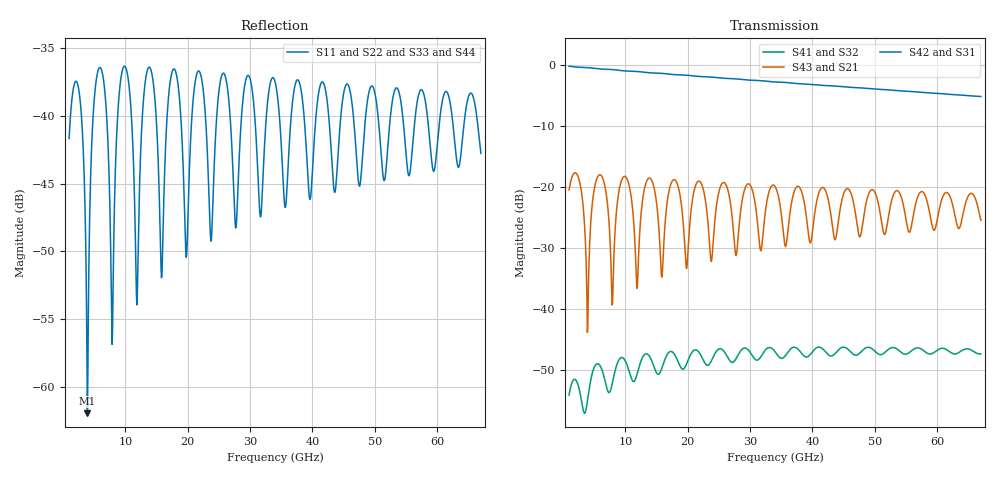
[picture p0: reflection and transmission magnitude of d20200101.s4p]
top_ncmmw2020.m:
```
%% Basic information
% Extract RLGC of coupled TL from S using Mixed-Mode ABCD method
% Author Name: Wei Guorui
% Instructor Name: Xia Bin
% Created in: 2020-01-01 11:16
% Last modified: 2020-01-01 hh:mm
clc; clear; close all;
addpath(genpath('../code'))

%% Port numbering
% Single-Ended
% 	           PORT NUMBERING (Classic style)
% 	    PORT#                               PORT#
% 	    Z1 = Z3 = 50.00                     Z2 = Z4 = 50.00
% 	           --------------------------
% 	          |                          |
% 	      1 --|                          |-- 2
% 	          |                          |
% 	      3 --|                          |-- 4
% 	          |                          |
% 	           --------------------------

% Mixed Mode S-Parameters
% 	    Zdiff = 100.00                      Zcomm = 25.00
% 	    PORT#								PORT#
% 	           --------------------------
% 	          |                          |
% 	        --|                          |--
% 	     1    |                          |     2
% 	        --|                          |--
% 	          |                          |
% 	           --------------------------

%% Initialize
% Load Scattering matrix
linelength = 0.018; % line length(meters).
filename_2line = 'data/SI/d20200101.s4p';
SE4P_Data = read(rfdata.data,filename_2line); % SingleEnded4PortData
freq = SE4P_Data.Freq;
freqpts = length(freq);
Z0 = SE4P_Data.Z0; % Reference impedance
ZL = SE4P_Data.ZL;
ZS = SE4P_Data.ZS;
SE4P_Data.S_Parameters = snp2smp(SE4P_Data.S_Parameters,...
    Z0,[1 2 3 4]); % Single-Ended Scattering parameters
numLines = size(SE4P_Data.S_Parameters,1)/2; % (nunLines + 1) Conductors
s_params = sparameters(SE4P_Data);

%% Extract RLCG using Mixed-Mode ABCD method
% 1. Convert Single-Ended S to Mixed-Mode S
[smm.dd,smm.dc,smm.cd,smm.cc] = ...
    s2smm(snp2smp(s_params.Parameters,Z0,[1 2 3 4],Z0),2);

% 2. Extract \gamma and Zc for each mode
% 3. Combined odd/even mode to get total RLCG
[rlgc_params] = mms2rlgc(smm,linelength,freq,Z0);

%% Validate
% Load RLCG extracted by Cadence Sigrity PowerSI
% allocate memory
rlgc_PowerSI.R = zeros(size(rlgc_params.R));
rlgc_PowerSI.L = zeros(size(rlgc_params.L));
rlgc_PowerSI.C = zeros(size(rlgc_params.C));
rlgc_PowerSI.G = zeros(size(rlgc_params.G));
% load data
filename_PowerSI = 'data/SI/Transmission_RLGC_res_20200101.csv';
opts = detectImportOptions(filename_PowerSI);
rlgc_PowerSI_mat = readtable(filename_PowerSI);
for freqIdx = 1:freqpts
    rlgc_PowerSI.R(1,1,freqIdx) = rlgc_PowerSI_mat{4*freqIdx-3,3}/linelength;
    rlgc_PowerSI.R(1,2,freqIdx) = rlgc_PowerSI_mat{4*freqIdx-3,4}/linelength;
    rlgc_PowerSI.R(2,1,freqIdx) = rlgc_PowerSI_mat{4*freqIdx-3,4}/linelength;
    rlgc_PowerSI.R(2,2,freqIdx) = rlgc_PowerSI_mat{4*freqIdx-3,5}/linelength;
    rlgc_PowerSI.L(1,1,freqIdx) = rlgc_PowerSI_mat{4*freqIdx-2,3}/linelength;
    rlgc_PowerSI.L(1,2,freqIdx) = rlgc_PowerSI_mat{4*freqIdx-2,4}/linelength;
    rlgc_PowerSI.L(2,1,freqIdx) = rlgc_PowerSI_mat{4*freqIdx-2,4}/linelength;
    rlgc_PowerSI.L(2,2,freqIdx) = rlgc_PowerSI_mat{4*freqIdx-2,5}/linelength;    
    rlgc_PowerSI.G(1,1,freqIdx) = rlgc_PowerSI_mat{4*freqIdx-1,3}/linelength;
    rlgc_PowerSI.G(1,2,freqIdx) = rlgc_PowerSI_mat{4*freqIdx-1,4}/linelength;
    rlgc_PowerSI.G(2,1,freqIdx) = rlgc_PowerSI_mat{4*freqIdx-1,4}/linelength;
    rlgc_PowerSI.G(2,2,freqIdx) = rlgc_PowerSI_mat{4*freqIdx-1,5}/linelength;
    rlgc_PowerSI.C(1,1,freqIdx) = rlgc_PowerSI_mat{4*freqIdx-0,3}/linelength;
    rlgc_PowerSI.C(1,2,freqIdx) = rlgc_PowerSI_mat{4*freqIdx-0,4}/linelength;
    rlgc_PowerSI.C(2,1,freqIdx) = rlgc_PowerSI_mat{4*freqIdx-0,4}/linelength;
    rlgc_PowerSI.C(2,2,freqIdx) = rlgc_PowerSI_mat{4*freqIdx-0,5}/linelength;
end

%% Figure
%% 1. Simulated S parameters
figure('Name','Simulated [S] Matrix')
sgtitle('Simulated S parameters using Polar Si9000')
subplot(2,2,1)
rfplot(s_params,1,1);
hold on
rfplot(s_params,2,2);
rfplot(s_params,3,3);
rfplot(s_params,4,4);
hold off
legend({'S11','S22','S33','S44'},'Location','best','NumColumns',2)
legend('boxoff')
title('S11,S22,S33,S44')

subplot(2,2,2)
rfplot(s_params,1,2);
hold on
rfplot(s_params,2,1);
rfplot(s_params,3,4);
rfplot(s_params,4,3);
hold off
legend({'S12','S21','S34','S43'},'Location','best','NumColumns',2)
legend('boxoff')
title('S12,S21,S34,S43')

subplot(2,2,3)
rfplot(s_params,1,3);
hold on
rfplot(s_params,3,1);
rfplot(s_params,2,4);
rfplot(s_params,4,2);
hold off
legend({'S13','S31','S24','S42'},'Location','best','NumColumns',2)
legend('boxoff')
title('S13,S31,S24,S42')

subplot(2,2,4)
rfplot(s_params,1,4);
hold on
rfplot(s_params,4,1);
rfplot(s_params,2,3);
rfplot(s_params,3,2);
hold off
legend({'S14','S41','S23','S32'},'Location','best','NumColumns',2)
legend('boxoff')
title('S14,S41,S23,S32')

%% 2. Propagation constants and characteristic impedances of even/odd mode
figure('Name','Propagation constants and characteristic impedances of even/odd mode')
sgtitle({'Propagation constants and characteristic impedances','of even/odd mode'})

subplot(2,2,1)
plot(freq/1e9,real(rlgc_params.even.alpha),'-')
hold on
plot(freq/1e9,real(rlgc_params.odd.alpha),'--')
grid on
xlabel('Freq(GHz)');
ylabel('\alpha(Np/m)');
title('\alpha:even/odd mode');
legend({'\alpha_e','\alpha_o'},'Location','best')

subplot(2,2,2)
plot(freq/1e9,real(rlgc_params.even.beta),'k-')
hold on
plot(freq/1e9,real(rlgc_params.odd.beta),'g--')
grid on
xlabel('Freq(GHz)');
ylabel('\beta(rad/m)');
title('\beta:even/odd mode');
legend({'\beta_e','\beta_o'},'Location','best')

subplot(2,2,3)
plot(freq/1e9,real(rlgc_params.even.Zc))
hold on
plot(freq/1e9,real(rlgc_params.odd.Zc))
grid on
xlabel('Freq(GHz)');
ylabel('\Re(Zc)/Ohms');
title('\Re(Zc):even/odd mode');
legend({'\Re(Zc,e)','\Re(Zc,o)'},'Location','best')

subplot(2,2,4)
plot(freq/1e9,imag(rlgc_params.even.Zc))
hold on
plot(freq/1e9,imag(rlgc_params.odd.Zc))
grid on
xlabel('Freq(GHz)');
ylabel('\Im(Zc)/Ohms');
title('\Im(Zc):even/odd mode');
legend({'\Im(Zc,e)','\Im(Zc,o)'},'Location','best')

%% 3. RLGC compared with Cadence PowerSI
% R, L
figure('Name','R, L matrix')
sgtitle({'Comparison Between Proposed Algorithm and';' Cadence Sigrity PowerSI: R, L Matrix'})
subplot(221)
plot(freq/1e9,squeeze(rlgc_params.R(1,1,:)),'k-')
hold on
plot(freq/1e9,squeeze(rlgc_PowerSI.R(1,1,:)),'g--')
hold off
grid on
xlabel('Freq(GHz)');
ylabel('R11(Ohms/m)');
title('R11 Comparison');
legend({'Proposed Algorithm','Cadence Sigrity PowerSI'},'Location','best','NumColumns',1)
legend('boxoff')

subplot(222)
plot(freq/1e9,squeeze(rlgc_params.R(1,2,:)),'k-')
hold on
plot(freq/1e9,squeeze(rlgc_PowerSI.R(1,2,:)),'g--')
hold off
grid on
xlabel('Freq(GHz)');
ylabel('R12(Ohms/m)');
title('R12 Comparison');
legend({'Proposed Algorithm','Cadence Sigrity PowerSI'},'Location','best','NumColumns',1)
legend('boxoff')

subplot(223)
plot(freq/1e9,squeeze(rlgc_params.L(1,1,:)),'k-')
hold on
plot(freq/1e9,squeeze(rlgc_PowerSI.L(1,1,:)),'g--')
hold off
grid on
xlabel('Freq(GHz)');
ylabel('L11(H/m)');
title('L11 Comparison');
legend({'Proposed Algorithm','Cadence Sigrity PowerSI'},'Location','best','NumColumns',1)
legend('boxoff')

subplot(224)
plot(freq/1e9,squeeze(rlgc_params.L(1,2,:)),'k-')
hold on
plot(freq/1e9,squeeze(rlgc_PowerSI.L(1,2,:)),'g--')
hold off
grid on
xlabel('Freq(GHz)');
ylabel('L12(H/m)');
title('L12 Comparison');
legend({'Proposed Algorithm','Cadence Sigrity PowerSI'},'Location','best','NumColumns',1)
legend('boxoff')

% C, G
figure('Name','C, G matrix')
sgtitle({'Comparison Between Proposed Algorithm and';' Cadence Sigrity PowerSI: C, G Matrix'})
subplot(221)
plot(freq/1e9,squeeze(rlgc_params.C(1,1,:)),'m-')
hold on
plot(freq/1e9,squeeze(rlgc_PowerSI.C(1,1,:)),'k--')
hold off
grid on
ave_y = mean(squeeze(rlgc_params.C(1,1,:)));
del_r = 4e-5;
ylim([ave_y*(1-del_r), ave_y*(1+del_r)])
xlabel('Freq(GHz)');
ylabel('C11(F/m)');
title('C11 Comparison');
legend({'Proposed Algorithm','Cadence Sigrity PowerSI'},'Location','best','NumColumns',1)
legend('boxoff')

subplot(222)
plot(freq/1e9,squeeze(rlgc_params.C(1,2,:)),'m-')
hold on
plot(freq/1e9,squeeze(rlgc_PowerSI.C(1,2,:)),'k--')
hold off
grid on
ave_y = mean(squeeze(rlgc_params.C(1,2,:)));
del_r = 5e-4;
ylim([ave_y*(1+del_r), ave_y*(1-del_r)])
xlabel('Freq(GHz)');
ylabel('C12(F/m)');
title('C12 Comparison');
legend({'Proposed Algorithm','Cadence Sigrity PowerSI'},'Location','best','NumColumns',1)
legend('boxoff')

subplot(223)
plot(freq/1e9,squeeze(rlgc_params.G(1,1,:)),'m-')
hold on
plot(freq/1e9,squeeze(rlgc_PowerSI.G(1,1,:)),'k--')
hold off
grid on
xlabel('Freq(GHz)');
ylabel('G11(S/m)');
title('G11 Comparison');
legend({'Proposed Algorithm','Cadence Sigrity PowerSI'},'Location','best','NumColumns',1)
legend('boxoff')

subplot(224)
plot(freq/1e9,squeeze(rlgc_params.G(1,2,:)),'m-')
hold on
plot(freq/1e9,squeeze(rlgc_PowerSI.G(1,2,:)),'k--')
hold off
grid on
xlabel('Freq(GHz)');
ylabel('G12(S/m)');
title('G12 Comparison');
legend({'Proposed Algorithm','Cadence Sigrity PowerSI'},'Location','best','NumColumns',1)
legend('boxoff')
```
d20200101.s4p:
! www.PolarInstruments.com
! File Export V10.11 [9.03]
! For hxji@mail.xidian.edu.cn;QQ=47399897
! File : D:\SJTU\Bachelor\thesis\ncmmw2020\Code\data\SI\d20200101.s4p
! Polar  PCB Transmission Line Field Solver  v11.04.00
# MHz S DB R 50.00
! Line Length = 0.018m ( 0.71 inch )
!  PORT NUMBERING (Classic style)
!  PORT#  PORT#
!  Z1 = Z2 = 50.00  Z3 = Z4 = 50.00
!  1 --|  |-- 3
!  2 --|  |-- 4
! FREQ MHz  S11  S12  S13  S14
!  S21  S22  S23  S24
!  S31  S32  S33  S34
!  S41  S42  S43  S44
!  DB  ANG  DB  ANG  DB  ANG  DB  ANG
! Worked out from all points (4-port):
!   901 points, 1 GHz to 67 GHz, reference 50 ohm
!   strongest paths, dB at 1 GHz, 17.5 GHz, 34 GHz, 50.5 GHz, 67 GHz:
!     S42: -0.2, -1.5, -2.8, -4.0, -5.1
!     S31: -0.2, -1.5, -2.8, -4.0, -5.1
!     S43: -20.5, -19.1, -19.9, -22.4, -25.5
!     S21: -20.5, -19.1, -19.9, -22.4, -25.5
!     S41: -54.1, -47.0, -47.0, -47.4, -47.4
!     S32: -54.1, -47.0, -47.0, -47.4, -47.4
!   lowest |S11| = -62.0 dB at 3.933 GHz (marker M1), VSWR 1.00, Z = 49.9 + j0.0427 ohm
!   |S11| at or under -10 dB: start of sweep to end of sweep
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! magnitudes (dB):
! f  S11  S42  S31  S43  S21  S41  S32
! 1 GHz  -41.7  -0.2  -0.2  -20.5  -20.5  -54.1  -54.1
! 3.933 GHz  -62.0  -0.4  -0.4  -43.9  -43.9  -55.1  -55.1
! 67 GHz  -42.8  -5.1  -5.1  -25.5  -25.5  -47.4  -47.4
